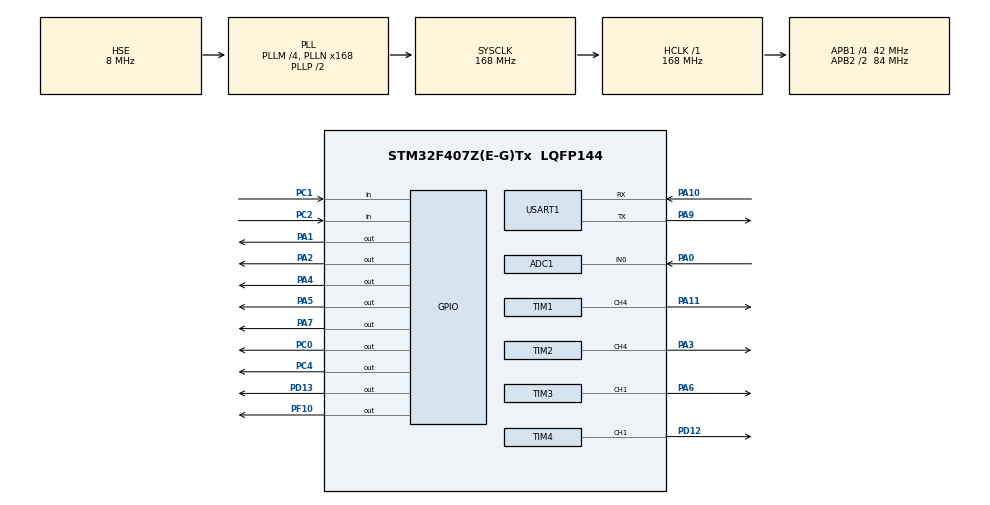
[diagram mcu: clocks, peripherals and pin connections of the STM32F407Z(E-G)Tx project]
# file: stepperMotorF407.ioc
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ADC1.Channel-0\#ChannelRegularConversion=ADC_CHANNEL_0
ADC1.ClockPrescaler=ADC_CLOCK_SYNC_PCLK_DIV4
ADC1.ContinuousConvMode=DISABLE
ADC1.DMAContinuousRequests=DISABLE
ADC1.DataAlign=ADC_DATAALIGN_RIGHT
ADC1.DiscontinuousConvMode=DISABLE
ADC1.EOCSelection=ADC_EOC_SINGLE_CONV
ADC1.EnableAnalogWatchDog=false
ADC1.ExternalTrigConv=ADC_SOFTWARE_START
ADC1.ExternalTrigConvEdge=ADC_EXTERNALTRIGCONVEDGE_NONE
ADC1.InjNumberOfConversion=0
ADC1.NbrOfConversion=1
ADC1.NbrOfConversionFlag=1
ADC1.Rank-0\#ChannelRegularConversion=1
ADC1.Resolution=ADC_RESOLUTION_12B
ADC1.SamplingTime-0\#ChannelRegularConversion=ADC_SAMPLETIME_480CYCLES
ADC1.ScanConvMode=DISABLE
ADC1.master=1
Dma.Request0=USART1_RX
Dma.Request1=USART1_TX
Dma.USART1_RX.0.Direction=DMA_PERIPH_TO_MEMORY
Dma.USART1_RX.0.FIFOMode=DMA_FIFOMODE_DISABLE
Dma.USART1_RX.0.Instance=DMA2_Stream2
Dma.USART1_RX.0.MemDataAlignment=DMA_MDATAALIGN_BYTE
Dma.USART1_RX.0.MemInc=DMA_MINC_ENABLE
Dma.USART1_RX.0.Mode=DMA_NORMAL
Dma.USART1_RX.0.PeriphDataAlignment=DMA_PDATAALIGN_BYTE
Dma.USART1_RX.0.PeriphInc=DMA_PINC_DISABLE
Dma.USART1_RX.0.Priority=DMA_PRIORITY_LOW
Dma.USART1_TX.1.Direction=DMA_MEMORY_TO_PERIPH
Dma.USART1_TX.1.FIFOMode=DMA_FIFOMODE_DISABLE
Dma.USART1_TX.1.Instance=DMA2_Stream7
Dma.USART1_TX.1.MemDataAlignment=DMA_MDATAALIGN_BYTE
Dma.USART1_TX.1.MemInc=DMA_MINC_ENABLE
Dma.USART1_TX.1.Mode=DMA_NORMAL
Dma.USART1_TX.1.PeriphDataAlignment=DMA_PDATAALIGN_BYTE
Dma.USART1_TX.1.PeriphInc=DMA_PINC_DISABLE
Dma.USART1_TX.1.Priority=DMA_PRIORITY_LOW
FREERTOS.Tasks01=defaultTask,0,128,StartDefaultTask,Default,NULL
Mcu.Family=STM32F4
Mcu.Name=STM32F407Z(E-G)Tx
Mcu.Package=LQFP144
NVIC.DMA2_Stream2_IRQn=true\:5\:0\:false\:false\:true\:true\:false
NVIC.DMA2_Stream7_IRQn=true\:5\:0\:false\:false\:true\:true\:false
NVIC.PriorityGroup=NVIC_PRIORITYGROUP_4
NVIC.TIM2_IRQn=true\:5\:0\:false\:false\:true\:true\:true
NVIC.TIM3_IRQn=true\:5\:0\:false\:false\:true\:true\:true
NVIC.TIM4_IRQn=true\:5\:0\:false\:false\:true\:true\:true
NVIC.TIM6_DAC_IRQn=true\:0\:0\:false\:false\:true\:false\:false
NVIC.TimeBase=TIM6_DAC_IRQn
NVIC.TimeBaseIP=TIM6
NVIC.USART1_IRQn=true\:5\:0\:false\:false\:true\:true\:true
PA0-WKUP.Signal=ADCx_IN0
PA1.Signal=GPIO_Output
PA10.Mode=Asynchronous
PA10.Signal=USART1_RX
PA11.Signal=S_TIM1_CH4
PA13.Mode=Serial_Wire
PA13.Signal=SYS_JTMS-SWDIO
PA14.Mode=Serial_Wire
PA14.Signal=SYS_JTCK-SWCLK
PA2.Signal=GPIO_Output
PA3.Signal=S_TIM2_CH4
PA4.Signal=GPIO_Output
PA5.Signal=GPIO_Output
PA6.Signal=S_TIM3_CH1
PA7.Signal=GPIO_Output
PA9.Mode=Asynchronous
PA9.Signal=USART1_TX
PC0.Signal=GPIO_Output
PC1.GPIO_PuPd=GPIO_PULLDOWN
PC1.Signal=GPIO_Input
PC2.GPIO_PuPd=GPIO_PULLDOWN
PC2.Signal=GPIO_Input
PC4.Signal=GPIO_Output
PD12.Signal=S_TIM4_CH1
PD13.Signal=GPIO_Output
PF10.Signal=GPIO_Output
PH0-OSC_IN.Mode=HSE-External-Oscillator
PH0-OSC_IN.Signal=RCC_OSC_IN
PH1-OSC_OUT.Mode=HSE-External-Oscillator
PH1-OSC_OUT.Signal=RCC_OSC_OUT
ProjectManager.HeapSize=0x200
ProjectManager.StackSize=0x400
ProjectManager.TargetToolchain=MDK-ARM V5
RCC.48MHZClocksFreq_Value=84000000
RCC.AHBFreq_Value=168000000
RCC.APB1CLKDivider=RCC_HCLK_DIV4
RCC.APB1Freq_Value=42000000
RCC.APB1TimFreq_Value=84000000
RCC.APB2CLKDivider=RCC_HCLK_DIV2
RCC.APB2Freq_Value=84000000
RCC.APB2TimFreq_Value=168000000
RCC.CortexFreq_Value=168000000
RCC.HCLKFreq_Value=168000000
RCC.HSE_VALUE=8000000
RCC.HSI_VALUE=16000000
RCC.LSE_VALUE=32768
RCC.PLLM=4
RCC.PLLN=168
RCC.PLLSourceVirtual=RCC_PLLSOURCE_HSE
RCC.SYSCLKFreq_VALUE=168000000
RCC.SYSCLKSource=RCC_SYSCLKSOURCE_PLLCLK
RCC.VCOOutputFreq_Value=336000000
SH.ADCx_IN0.0=ADC1_IN0,IN0
SH.S_TIM1_CH4.0=TIM1_CH4,PWM Generation4 CH4
SH.S_TIM2_CH4.0=TIM2_CH4,PWM Generation4 CH4
SH.S_TIM3_CH1.0=TIM3_CH1,PWM Generation1 CH1
SH.S_TIM4_CH1.0=TIM4_CH1,PWM Generation1 CH1
TIM1.Channel-PWM\ Generation4\ CH4=TIM_CHANNEL_4
TIM1.Period=299
TIM1.Prescaler=1680
TIM2.Channel-PWM\ Generation4\ CH4=TIM_CHANNEL_4
TIM2.Period=399
TIM2.Prescaler=864
TIM2.Pulse-PWM\ Generation4\ CH4=50
TIM3.Channel-PWM\ Generation1\ CH1=TIM_CHANNEL_1
TIM3.Period=399
TIM3.Prescaler=864
TIM3.Pulse-PWM\ Generation1\ CH1=50
TIM4.Channel-PWM\ Generation1\ CH1=TIM_CHANNEL_1
TIM4.Period=19999
TIM4.Prescaler=16400
USART1.VirtualMode=VM_ASYNC
VP_FREERTOS_VS_ENABLE.Mode=Enabled
VP_SYS_VS_tim6.Mode=TIM6
VP_TIM1_VS_ClockSourceINT.Mode=Internal
VP_TIM2_VS_ClockSourceINT.Mode=Internal
VP_TIM3_VS_ClockSourceINT.Mode=Internal
VP_TIM4_VS_ClockSourceINT.Mode=Internal
board=stepperMotorF407

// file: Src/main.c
/**
  ******************************************************************************
  * File Name          : main.c
  * Description        : Main program body
  ******************************************************************************
  * This notice applies to any and all portions of this file
  * that are not between comment pairs USER CODE BEGIN and
  * USER CODE END. Other portions of this file, whether
  * inserted by the user or by software development tools
  * are owned by their respective copyright owners.
  *
  * Copyright (c) 2018 STMicroelectronics International N.V.
  * All rights reserved.
  *
  * Redistribution and use in source and binary forms, with or without
  * modification, are permitted, provided that the following conditions are met:
  *
  * 1. Redistribution of source code must retain the above copyright notice,
  *    this list of conditions and the following disclaimer.
  * 2. Redistributions in binary form must reproduce the above copyright notice,
  *    this list of conditions and the following disclaimer in the documentation
  *    and/or other materials provided with the distribution.
  * 3. Neither the name of STMicroelectronics nor the names of other
  *    contributors to this software may be used to endorse or promote products
  *    derived from this software without specific written permission.
  * 4. This software, including modifications and/or derivative works of this
  *    software, must execute solely and exclusively on microcontroller or
  *    microprocessor devices manufactured by or for STMicroelectronics.
  * 5. Redistribution and use of this software other than as permitted under
  *    this license is void and will automatically terminate your rights under
  *    this license.
  *
  * THIS SOFTWARE IS PROVIDED BY STMICROELECTRONICS AND CONTRIBUTORS "AS IS"
  * AND ANY EXPRESS, IMPLIED OR STATUTORY WARRANTIES, INCLUDING, BUT NOT
  * LIMITED TO, THE IMPLIED WARRANTIES OF MERCHANTABILITY, FITNESS FOR A
  * PARTICULAR PURPOSE AND NON-INFRINGEMENT OF THIRD PARTY INTELLECTUAL PROPERTY
  * RIGHTS ARE DISCLAIMED TO THE FULLEST EXTENT PERMITTED BY LAW. IN NO EVENT
  * SHALL STMICROELECTRONICS OR CONTRIBUTORS BE LIABLE FOR ANY DIRECT, INDIRECT,
  * INCIDENTAL, SPECIAL, EXEMPLARY, OR CONSEQUENTIAL DAMAGES (INCLUDING, BUT NOT
  * LIMITED TO, PROCUREMENT OF SUBSTITUTE GOODS OR SERVICES; LOSS OF USE, DATA,
  * OR PROFITS; OR BUSINESS INTERRUPTION) HOWEVER CAUSED AND ON ANY THEORY OF
  * LIABILITY, WHETHER IN CONTRACT, STRICT LIABILITY, OR TORT (INCLUDING
  * NEGLIGENCE OR OTHERWISE) ARISING IN ANY WAY OUT OF THE USE OF THIS SOFTWARE,
  * EVEN IF ADVISED OF THE POSSIBILITY OF SUCH DAMAGE.
  *
  ******************************************************************************
  */

#include "main.h"
#include "stm32f4xx_hal.h"
#include "cmsis_os.h"
#include "adc.h"
#include "dma.h"
#include "tim.h"
#include "usart.h"
#include "gpio.h"

/* USER CODE BEGIN Includes */
#include "bsp_uart.h"
/* USER CODE END Includes */

/* USER CODE BEGIN PV */
/* Private variables ---------------------------------------------------------*/

/* USER CODE END PV */

void SystemClock_Config(void);
void MX_FREERTOS_Init(void);

/* USER CODE BEGIN PFP */
/* Private function prototypes -----------------------------------------------*/

/* USER CODE END PFP */

/* USER CODE BEGIN 0 */
uint16_t cxn,cxn2,cxn3;//80-220
/* USER CODE END 0 */

int main(void)
{

  /* MCU Configuration----------------------------------------------------------*/

  /* Reset of all peripherals, Initializes the Flash interface and the Systick. */
  HAL_Init();

  /* Configure the system clock */
  SystemClock_Config();

  /* Initialize all configured peripherals */
  MX_GPIO_Init();
  MX_DMA_Init();
  MX_TIM2_Init();
  MX_USART1_UART_Init();
  MX_ADC1_Init();
  MX_TIM3_Init();
  MX_TIM4_Init();
  MX_TIM1_Init();

  /* USER CODE BEGIN 2 */
    //限位开关供电
  HAL_GPIO_WritePin(GPIOF, GPIO_PIN_10, GPIO_PIN_SET);
  HAL_GPIO_WritePin(GPIOC, GPIO_PIN_0, GPIO_PIN_SET);
  bluetooth_init();
	HAL_TIM_PWM_Start(&htim1, TIM_CHANNEL_4);
	//HAL_GPIO_WritePin(GPIOF, GPIO_PIN_10, GPIO_PIN_SET);
	//HAL_GPIO_WritePin(GPIOC, GPIO_PIN_0, GPIO_PIN_SET);
	//HAL_Delay(5);
	//uint8_t tempStr[2]={0xA5,0x20};
	//HAL_UART_Transmit_DMA(&huart1, tempStr, 2);
//  HAL_GPIO_WritePin(GPIOA, GPIO_PIN_1, GPIO_PIN_SET); //PUL+ 接3.3V
//  HAL_GPIO_WritePin(GPIOA, GPIO_PIN_2, GPIO_PIN_SET); //DIR+ 接3.3V
//  HAL_TIM_PWM_Start(&htim2, TIM_CHANNEL_4);           //PA3 pwm PUL-
//                                                    	//DIR- pa4正时向电机，负时向另外一边
//  黑A+绿A-红B+蓝B-
//	HAL_GPIO_WritePin(GPIOA, GPIO_PIN_4, GPIO_PIN_SET);

  /* USER CODE END 2 */

  /* Call init function for freertos objects (in freertos.c) */
  MX_FREERTOS_Init();

  /* Start scheduler */
  osKernelStart();

  /* We should never get here as control is now taken by the scheduler */

  /* Infinite loop */
  while (1)
  {

  /* USER CODE BEGIN 3 */
		TIM1->CCR4=cxn;
//		cxn2=HAL_GPIO_ReadPin(GPIOC,GPIO_PIN_1);
//		cxn3=HAL_GPIO_ReadPin(GPIOC,GPIO_PIN_2);
		HAL_Delay(5);
  }
  /* USER CODE END 3 */

}

/** System Clock Configuration
*/
void SystemClock_Config(void)
{

  RCC_OscInitTypeDef RCC_OscInitStruct;
  RCC_ClkInitTypeDef RCC_ClkInitStruct;

    /**Configure the main internal regulator output voltage
    */
  __HAL_RCC_PWR_CLK_ENABLE();

  __HAL_PWR_VOLTAGESCALING_CONFIG(PWR_REGULATOR_VOLTAGE_SCALE1);

    /**Initializes the CPU, AHB and APB busses clocks
    */
  RCC_OscInitStruct.OscillatorType = RCC_OSCILLATORTYPE_HSE;
  RCC_OscInitStruct.HSEState = RCC_HSE_ON;
  RCC_OscInitStruct.PLL.PLLState = RCC_PLL_ON;
  RCC_OscInitStruct.PLL.PLLSource = RCC_PLLSOURCE_HSE;
  RCC_OscInitStruct.PLL.PLLM = 4;
  RCC_OscInitStruct.PLL.PLLN = 168;
  RCC_OscInitStruct.PLL.PLLP = RCC_PLLP_DIV2;
  RCC_OscInitStruct.PLL.PLLQ = 4;
  if (HAL_RCC_OscConfig(&RCC_OscInitStruct) != HAL_OK)
  {
    _Error_Handler(__FILE__, __LINE__);
  }

    /**Initializes the CPU, AHB and APB busses clocks
    */
  RCC_ClkInitStruct.ClockType = RCC_CLOCKTYPE_HCLK|RCC_CLOCKTYPE_SYSCLK
                              |RCC_CLOCKTYPE_PCLK1|RCC_CLOCKTYPE_PCLK2;
  RCC_ClkInitStruct.SYSCLKSource = RCC_SYSCLKSOURCE_PLLCLK;
  RCC_ClkInitStruct.AHBCLKDivider = RCC_SYSCLK_DIV1;
  RCC_ClkInitStruct.APB1CLKDivider = RCC_HCLK_DIV4;
  RCC_ClkInitStruct.APB2CLKDivider = RCC_HCLK_DIV2;

  if (HAL_RCC_ClockConfig(&RCC_ClkInitStruct, FLASH_LATENCY_5) != HAL_OK)
  {
    _Error_Handler(__FILE__, __LINE__);
  }

    /**Configure the Systick interrupt time
    */
  HAL_SYSTICK_Config(HAL_RCC_GetHCLKFreq()/1000);

    /**Configure the Systick
    */
  HAL_SYSTICK_CLKSourceConfig(SYSTICK_CLKSOURCE_HCLK);

  /* SysTick_IRQn interrupt configuration */
  HAL_NVIC_SetPriority(SysTick_IRQn, 15, 0);
}

void HAL_TIM_PeriodElapsedCallback(TIM_HandleTypeDef *htim)
{
  if (htim->Instance == TIM6) {
    HAL_IncTick();
  }
}

void _Error_Handler(char * file, int line)
{
  while (1)
  {
  }
}

/************************ (C) COPYRIGHT STMicroelectronics *****END OF FILE****/

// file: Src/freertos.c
/**
  ******************************************************************************
  * File Name          : freertos.c
  * Description        : Code for freertos applications
  ******************************************************************************
  * This notice applies to any and all portions of this file
  * that are not between comment pairs USER CODE BEGIN and
  * USER CODE END. Other portions of this file, whether
  * inserted by the user or by software development tools
  * are owned by their respective copyright owners.
  *
  * Copyright (c) 2018 STMicroelectronics International N.V.
  * All rights reserved.
  *
  * Redistribution and use in source and binary forms, with or without
  * modification, are permitted, provided that the following conditions are met:
  *
  * 1. Redistribution of source code must retain the above copyright notice,
  *    this list of conditions and the following disclaimer.
  * 2. Redistributions in binary form must reproduce the above copyright notice,
  *    this list of conditions and the following disclaimer in the documentation
  *    and/or other materials provided with the distribution.
  * 3. Neither the name of STMicroelectronics nor the names of other
  *    contributors to this software may be used to endorse or promote products
  *    derived from this software without specific written permission.
  * 4. This software, including modifications and/or derivative works of this
  *    software, must execute solely and exclusively on microcontroller or
  *    microprocessor devices manufactured by or for STMicroelectronics.
  * 5. Redistribution and use of this software other than as permitted under
  *    this license is void and will automatically terminate your rights under
  *    this license.
  *
  * THIS SOFTWARE IS PROVIDED BY STMICROELECTRONICS AND CONTRIBUTORS "AS IS"
  * AND ANY EXPRESS, IMPLIED OR STATUTORY WARRANTIES, INCLUDING, BUT NOT
  * LIMITED TO, THE IMPLIED WARRANTIES OF MERCHANTABILITY, FITNESS FOR A
  * PARTICULAR PURPOSE AND NON-INFRINGEMENT OF THIRD PARTY INTELLECTUAL PROPERTY
  * RIGHTS ARE DISCLAIMED TO THE FULLEST EXTENT PERMITTED BY LAW. IN NO EVENT
  * SHALL STMICROELECTRONICS OR CONTRIBUTORS BE LIABLE FOR ANY DIRECT, INDIRECT,
  * INCIDENTAL, SPECIAL, EXEMPLARY, OR CONSEQUENTIAL DAMAGES (INCLUDING, BUT NOT
  * LIMITED TO, PROCUREMENT OF SUBSTITUTE GOODS OR SERVICES; LOSS OF USE, DATA,
  * OR PROFITS; OR BUSINESS INTERRUPTION) HOWEVER CAUSED AND ON ANY THEORY OF
  * LIABILITY, WHETHER IN CONTRACT, STRICT LIABILITY, OR TORT (INCLUDING
  * NEGLIGENCE OR OTHERWISE) ARISING IN ANY WAY OUT OF THE USE OF THIS SOFTWARE,
  * EVEN IF ADVISED OF THE POSSIBILITY OF SUCH DAMAGE.
  *
  ******************************************************************************
  */

#include "FreeRTOS.h"
#include "task.h"
#include "cmsis_os.h"

/* USER CODE BEGIN Includes */
#include "draw_diabetes_task.h"
#include "temp_ctrl_task.h"
#include "bluetooth_comm_task.h"
/* USER CODE END Includes */

osThreadId defaultTaskHandle;

/* USER CODE BEGIN Variables */
osThreadId drawDiabetesTaskHandle;
osThreadId tempCtrlTaskHandle;
osThreadId bluetoothCommTaskHandle;
/* USER CODE END Variables */

void StartDefaultTask(void const * argument);

void MX_FREERTOS_Init(void); /* (MISRA C 2004 rule 8.1) */

/* Hook prototypes */

/* Init FreeRTOS */

void MX_FREERTOS_Init(void) {

  /* Create the thread(s) */
  /* definition and creation of defaultTask */
  osThreadDef(defaultTask, StartDefaultTask, osPriorityNormal, 0, 128);
  defaultTaskHandle = osThreadCreate(osThread(defaultTask), NULL);

  /* USER CODE BEGIN RTOS_THREADS */
  /* add threads, ... */
	osThreadDef(drawDiabetesTask, Draw_Diabetes_Task, osPriorityNormal, 0, 128);
  drawDiabetesTaskHandle = osThreadCreate(osThread(drawDiabetesTask), NULL);

	osThreadDef(tempCtrlTask, Temp_Ctrl_Task, osPriorityNormal, 0, 128);
  tempCtrlTaskHandle = osThreadCreate(osThread(tempCtrlTask), NULL);

	osThreadDef(bluetoothCommTask, Bluetooth_Comm_Task, osPriorityNormal, 0, 128);
  bluetoothCommTaskHandle = osThreadCreate(osThread(bluetoothCommTask), NULL);
  /* USER CODE END RTOS_THREADS */

}

/* StartDefaultTask function */
void StartDefaultTask(void const * argument)
{

  /* USER CODE BEGIN StartDefaultTask */
  /* Infinite loop */
  for(;;)
  {
    osDelay(1000);
  }
  /* USER CODE END StartDefaultTask */
}

/************************ (C) COPYRIGHT STMicroelectronics *****END OF FILE****/
